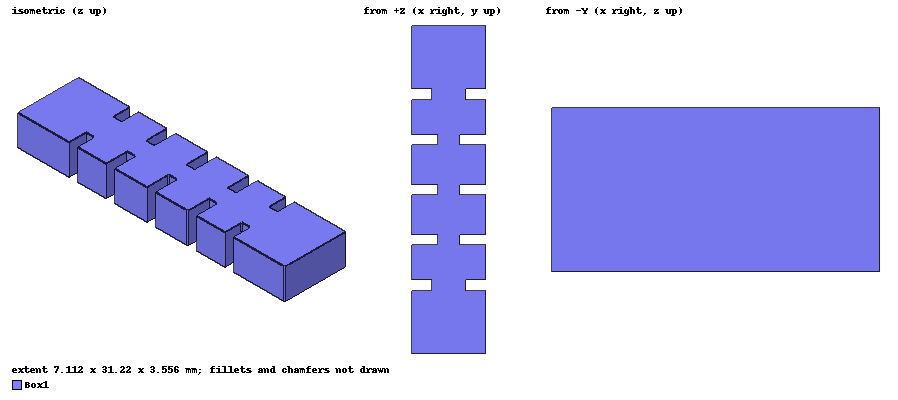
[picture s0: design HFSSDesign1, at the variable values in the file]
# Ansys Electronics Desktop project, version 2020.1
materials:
  vacuum: permittivity=1
  copper: permeability=0.999991 conductivity=58000000

design HFSSDesign1 (HFSS, DrivenModal, model units mm)
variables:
  a = 7.112mm
  l1 = 6mm
  l2 = 3.3327mm
  l3 = 3.776mm
  t = 1mm
  b = 3.556mm
  d3 = 2.03mm
  d2 = 2.166mm
  d1 = 3.147mm
  rr = 0.5mm
  h = 2mm
  p = 19.1mm
  fh = 2mm
  c = 12.7mm
  e = 13.46mm
  dh = 4mm
  他 = 0
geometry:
  Box1 [vacuum] = box(corner=(-a/2, -l1-l2-l3-5*t/2, 0), size=(a, 2*l1+2*l2+2*l3+5*t, b))
  Box2 = box(corner=(-a/2, -t/2, 0mm), size=(a/2-d3/2, t, b))
  Box3 = box(corner=(d3/2, -t/2, 0mm), size=(a/2-d3/2, t, b))
  Box4 = box(corner=(-a/2, -t/2-l3-t, 0mm), size=(a/2-d2/2, t, b))
  Box5 = box(corner=(d2/2, -t/2-l3-t, 0mm), size=(a/2-d2/2, t, b))
  Box6 = box(corner=(-a/2, t/2+l3, 0mm), size=(a/2-d2/2, t, b))
  Box7 = box(corner=(d2/2, t/2+l3, 0mm), size=(a/2-d2/2, t, b))
  Box8 = box(corner=(-a/2, -t/2-l3-2*t-l2, 0mm), size=(a/2-d1/2, t, b))
  Box9 = box(corner=(d1/2, -t/2-l3-2*t-l2, 0mm), size=(a/2-d1/2, t, b))
  Box10 = box(corner=(-a/2, t/2+l3 +l2+t, 0mm), size=(a/2-d1/2, t, b))
  Box11 = box(corner=(d1/2, t/2+l3 +l2+t, 0mm), size=(a/2-d1/2, t, b))
  Box1.subtract(Box10, Box11, Box2..Box9)
  Box1.fillet(Edges=Box1.edge(at (-3.556, -9.6087, 1.778)) Radius=rr Setback=0mm)
  Box1.fillet(Edges=Box1.edge(at (-3.556, -8.6087, 1.778)) Radius=rr Setback=0mm)
  Box1.fillet(Edges=Box1.edge(at (3.556, -9.6087, 1.778)) Radius=rr Setback=0mm)
  Box1.fillet(Edges=Box1.edge(at (3.556, -8.6087, 1.778)) Radius=rr Setback=0mm)
  Box1.fillet(Edges=Box1.edge(at (-3.556, -5.276, 1.778)) Radius=rr Setback=0mm)
  Box1.fillet(Edges=Box1.edge(at (-3.556, -4.276, 1.778)) Radius=rr Setback=0mm)
  Box1.fillet(Edges=Box1.edge(at (3.556, -5.276, 1.778)) Radius=rr Setback=0mm)
  Box1.fillet(Edges=Box1.edge(at (3.556, -4.276, 1.778)) Radius=rr Setback=0mm)
  Box1.fillet(Edges=Box1.edge(at (-3.556, -0.5, 1.778)) Radius=rr Setback=0mm)
  Box1.fillet(Edges=Box1.edge(at (-3.556, 0.5, 1.778)) Radius=rr Setback=0mm)
  Box1.fillet(Edges=Box1.edge(at (3.556, -0.5, 1.778)) Radius=rr Setback=0mm)
  Box1.fillet(Edges=Box1.edge(at (3.556, 0.5, 1.778)) Radius=rr Setback=0mm)
  Box1.fillet(Edges=Box1.edge(at (-3.556, 4.276, 1.778)) Radius=rr Setback=0mm)
  Box1.fillet(Edges=Box1.edge(at (-3.556, 5.276, 1.778)) Radius=rr Setback=0mm)
  Box1.fillet(Edges=Box1.edge(at (3.556, 5.276, 1.778)) Radius=rr Setback=0mm)
  Box1.fillet(Edges=Box1.edge(at (3.556, 4.276, 1.778)) Radius=rr Setback=0mm)
  Box1.fillet(Edges=Box1.edge(at (-3.556, 8.6087, 1.778)) Radius=rr Setback=0mm)
  Box1.fillet(Edges=Box1.edge(at (-3.556, 9.6087, 1.778)) Radius=rr Setback=0mm)
  Box1.fillet(Edges=Box1.edge(at (3.556, 8.6087, 1.778)) Radius=rr Setback=0mm)
  Box1.fillet(Edges=Box1.edge(at (3.556, 9.6087, 1.778)) Radius=rr Setback=0mm)
  coordinate_system RelativeCS1 = origin=(0mm, 0mm, 3.556mm) x=(1mm, 0mm, 0mm) y=(0mm, 1mm, 0mm)
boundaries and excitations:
  1: Wave Port Faces=Box1.face(-y) NumModes=1 Modes{Mode1{IntLine{(-0.5mm, -15.6087mm, 0.056mm) -> middle of Box1.edge(4 of 12)} CharImp=Zpi}}
  2: Wave Port Faces=Box1.face(+y) NumModes=1 Modes{Mode1{IntLine{middle of Box1.edge(8 of 12) -> middle of Box1.edge(2 of 12)} CharImp=Zpi}}
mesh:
  initial mesh: GlobalSurfApproximation{CurvedSurfaceApproxChoice=UseSlider SliderMeshSettings=8}
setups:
  Setup1: HfssDriven Frequency=41.5GHz MaxDeltaS=0.02 MaximumPasses=6 MinimumPasses=1 MinimumConvergedPasses=1 PercentRefinement=30 BasisOrder=0 PortAccuracy=2 IESolverType=ACA
    sweep Sweep: 40GHz to 43GHz, 101 points; Type=Discrete
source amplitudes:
  1:1: 1W 0deg
  2:1: 0W 0deg
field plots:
  Mesh1, Mesh2: MeshPlots in Box1 on Setup1 : LastAdaptive at Freq=41.5GHz Phase=0deg
  Mag_E1: E Field over Box1.face(all 66) on Setup1 : LastAdaptive at Freq=41.5GHz Phase=0deg
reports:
  S Parameter Plot 1: mag(S(1,1)), mag(S(2,1)) vs Freq on Setup1 : Sweep
